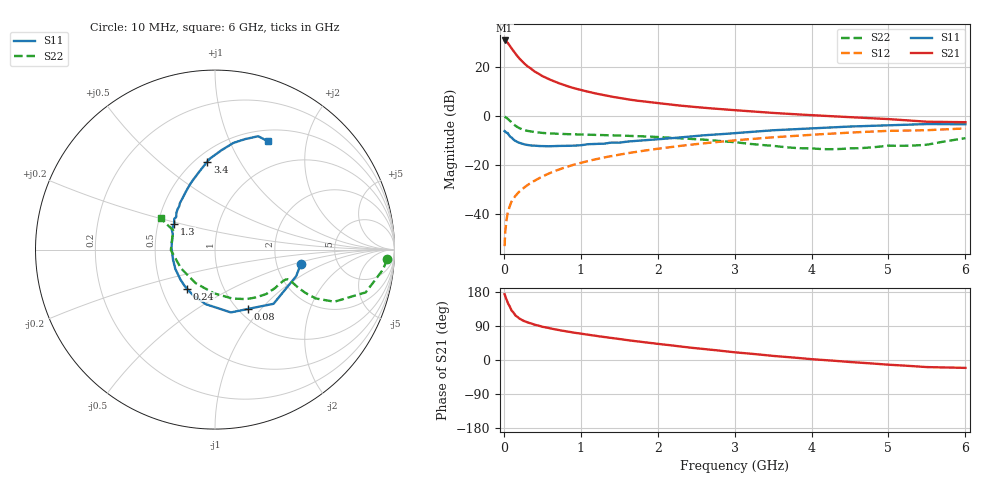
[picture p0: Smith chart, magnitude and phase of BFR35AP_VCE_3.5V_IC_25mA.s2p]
! Infineon Technologies  Discrete & RF Semiconductors
! BFR35AP
! VCE =  3.5 V,  IC =  25 mA
! Common Emitter S-Parameters:  Nov 2015
# GHz  S  MA  R  50
!  f  S11  S21  S12  S22
! GHz  MAG  ANG  MAG  ANG  MAG  ANG  MAG  ANG
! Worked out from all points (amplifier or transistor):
!   210 points, 10 MHz to 6 GHz, reference 50 ohm
!   highest |S21| = 30.7 dB at 10 MHz (marker M1)
!   |S21| within 3 dB of that: start of sweep to 96 MHz
!   unconditionally stable (mu >= 1): 332.3 MHz to 3.148 GHz
!   at 185 MHz: K = 0.81, MSG = 27.7 dB, |S12| = -31.4 dB
!   at 1.52 GHz: K = 1.12, MAG = 9.4 dB, |S12| = -15.7 dB
!   at 6 GHz: K = 0.96, MSG = 1.3 dB, |S12| = -5.2 dB
!   S11 on the Smith chart (normalised r, x): 10 MHz: 2.75, -0.57; 80 MHz: 1.10, -0.85; 240 MHz: 0.67, -0.31; 1.3 GHz: 0.61, +0.19; 3.4 GHz: 0.57, +0.74; 6 GHz: 0.64, +1.40
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0.01  0.4853 -9.4  34.16 173.5  0.0022 89.6  0.9608 -3.2
0.02  0.4757 -18.2  33.76 167.2  0.0046 85.9  0.9423 -6.8
0.05  0.4444 -42.8  30.65 150.6  0.0104 76.0  0.8724 -15.9
0.08  0.3783 -61.0  26.12 139.9  0.0148 71.2  0.7824 -20.2
0.1  0.361 -75.8  23.76 130.8  0.0178 69.4  0.7253 -23.6
0.15  0.3086 -99.5  18.38 117.7  0.0232 66.4  0.6228 -25.9
0.2  0.2823 -115.6  14.78 109.7  0.0283 67.7  0.5598 -25.6
0.24  0.2682 -125.7  12.71 105.2  0.032 68.2  0.5275 -25.0
0.26  0.2631 -130.5  11.84 103.0  0.0339 68.5  0.5143 -24.7
0.3  0.2546 -139.3  10.39 99.5  0.0379 69.4  0.4938 -24.0
0.4  0.2458 -154.3  7.972 93.2  0.0474 70.9  0.4632 -22.7
0.5  0.2407 -166.0  6.436 87.7  0.0574 71.7  0.446 -22.1
0.7  0.2426 177.3  4.695 79.4  0.0785 71.7  0.4286 -22.9
0.8  0.2434 171.7  4.116 75.8  0.0888 71.0  0.423 -23.7
1.02  0.2528 159.0  3.29 68.9  0.1116 69.8  0.4145 -25.9
1.3  0.269 147.6  2.627 60.8  0.1409 67.4  0.4019 -30.2
2.02  0.3333 124.0  1.788 42.2  0.2144 59.9  0.3671 -43.8
3.1  0.4531 99.9  1.264 18.6  0.3243 46.5  0.2776 -74.0
3.4  0.4918 95.0  1.169 12.9  0.3532 42.6  0.25 -86.6
4.1  0.5632 85.1  1.007 0.8  0.4182 33.1  0.2107 -126.0
5.1  0.6454 73.5  0.833 -13.5  0.4942 18.5  0.2442 175.5
6  0.6714 63.9  0.738 -20.8  0.5511 7.8  0.3488 150.2
